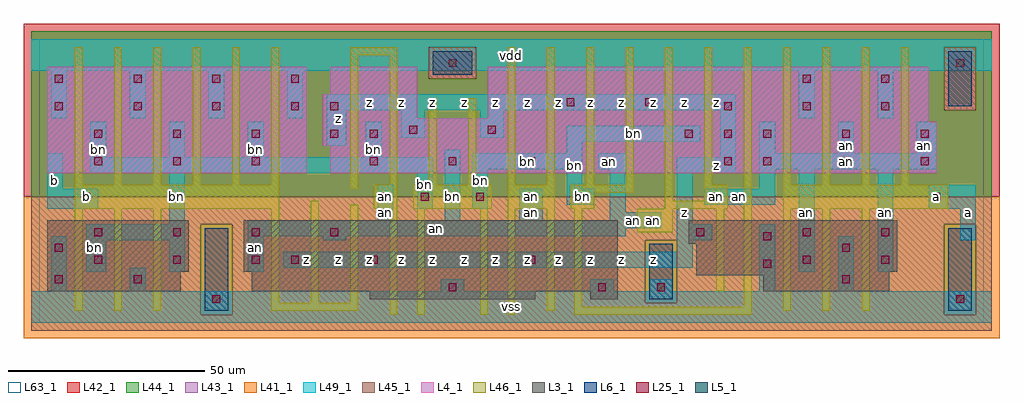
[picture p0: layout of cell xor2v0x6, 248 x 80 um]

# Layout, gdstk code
import gdstk
lib = gdstk.Library(unit=1e-6, precision=1e-09)
def R(c, l, rs):  # rectangles x0, y0, x1, y1
    for r in rs: c.add(gdstk.rectangle(r[:2], r[2:], *l))
def A(c, l, x, y, w, h, nx, ny, dx, dy):  # array of equal rectangles
    R(c, l, [(x+i*dx, y+j*dy, x+i*dx+w, y+j*dy+h) for i in range(nx) for j in range(ny)])
L3_1 = (3, 1)
L4_1 = (4, 1)
L5_1 = (5, 1)
L6_1 = (6, 1)
L25_1 = (25, 1)
L41_1 = (41, 1)
L42_1 = (42, 1)
L43_1 = (43, 1)
L44_1 = (44, 1)
L45_1 = (45, 1)
L46_1 = (46, 1)
L49_1 = (49, 1)
L63_1 = (63, 1)

xor2v0x6 = lib.new_cell('xor2v0x6')
R(xor2v0x6, L3_1, [(84,6,126,8), (140,6,147,8), (2,8,36,13), (54,8,147,13), (184,8,216,12), (167,12,216,13), (2,13,38,26), (52,13,147,26), (167,13,218,20), (165,20,218,26)])
R(xor2v0x6, L4_1, [(2,38,68,65), (74,38,228,45), (72,45,228,51), (72,51,226,52), (72,52,96,58), (114,52,226,65), (74,58,96,65)])
R(xor2v0x6, L5_1, [(231,55,237,69), (100,63,110,69)])
R(xor2v0x6, L6_1, [(42,3,48,24), (42,3,48,24), (231,3,237,24), (231,3,237,24), (155,6,161,20), (155,6,161,20)])
A(xor2v0x6, L25_1, 14, 15, 2, 2, 3, 2, 20, 25)
A(xor2v0x6, L25_1, 14, 22, 2, 2, 4, 2, 20, 25)
A(xor2v0x6, L25_1, 111, 31, 2, 2, 3, 1, 13, 0)
A(xor2v0x6, L25_1, 84, 40, 2, 2, 4, 1, 20, 0)
A(xor2v0x6, L25_1, 184, 40, 2, 2, 3, 1, 20, 0)
A(xor2v0x6, L25_1, 164, 47, 2, 2, 3, 1, 10, 0)
A(xor2v0x6, L25_1, 4, 54, 2, 2, 4, 2, 20, 7)
A(xor2v0x6, L25_1, 174, 54, 2, 2, 3, 1, 20, 0)
R(xor2v0x6, L25_1, [(44,5,46,7), (233,5,235,7), (104,8,106,10), (142,8,144,10), (157,8,159,10), (4,10,6,12), (24,10,26,12), (204,10,206,12), (184,14,186,16), (64,15,66,17), (84,15,86,17), (124,15,126,17), (194,15,196,17), (214,15,216,17), (4,18,6,20), (204,18,206,20), (184,21,186,23), (167,22,169,24), (194,22,196,24), (214,22,216,24), (154,25,156,27), (11,31,13,33), (87,31,89,33), (97,31,99,33), (171,31,173,33), (227,31,229,33), (174,40,176,42), (84,47,86,49), (204,47,206,49), (224,47,226,49), (94,48,96,50), (114,48,116,50), (74,54,76,56), (134,55,136,57), (154,55,156,57), (194,61,196,63), (214,61,216,63), (104,65,106,67), (233,65,235,67)])
R(xor2v0x6, L41_1, [(-4,-4,244,32)])
R(xor2v0x6, L42_1, [(-4,32,244,76)])
R(xor2v0x6, L43_1, [(42,3,48,24), (231,3,237,24), (84,6,126,8), (140,6,147,8), (155,6,161,20), (2,8,36,13), (54,8,147,13), (184,8,216,12), (167,12,216,13), (2,13,38,26), (52,13,147,26), (167,13,218,20), (165,20,218,26), (2,38,68,65), (74,38,228,45), (72,45,228,51), (72,51,226,52), (72,52,96,58), (114,52,226,65), (231,55,237,69), (74,58,96,65), (100,63,110,69)])
R(xor2v0x6, L44_1, [(41,2,49,25), (230,2,238,25), (154,5,162,21), (-2,32,242,54), (-2,54,230,62), (238,54,242,70), (-2,62,99,70), (111,62,230,70), (-2,70,242,74)])
R(xor2v0x6, L45_1, [(-2,-2,242,2), (-2,2,41,25), (49,2,230,5), (238,2,242,25), (49,5,154,21), (162,5,230,21), (49,21,230,25), (-2,25,242,32), (230,54,238,70), (99,62,111,70)])
A(xor2v0x6, L46_1, 9, 3, 2, 26, 3, 1, 10, 0)
A(xor2v0x6, L46_1, 189, 3, 2, 26, 3, 1, 10, 0)
A(xor2v0x6, L46_1, 9, 35, 2, 35, 6, 1, 10, 0)
A(xor2v0x6, L46_1, 119, 35, 2, 35, 4, 1, 10, 0)
A(xor2v0x6, L46_1, 189, 35, 2, 35, 4, 1, 10, 0)
R(xor2v0x6, L46_1, [(89,2,91,29), (96,2,98,29), (112,2,114,29), (119,2,121,29), (136,2,181,4), (59,3,81,5), (129,3,131,29), (136,4,138,29), (179,4,181,70), (59,5,61,29), (69,5,71,31), (79,5,81,30), (172,8,174,29), (152,23,161,29), (9,29,61,35), (85,29,91,35), (95,29,115,35), (119,29,131,35), (135,29,141,33), (159,29,175,31), (189,29,231,35), (159,31,161,70), (169,31,175,35), (135,33,151,35), (79,34,81,68), (89,35,91,68), (99,35,101,57), (109,35,111,57), (169,35,171,70), (79,68,91,70)])
A(xor2v0x6, L49_1, 13, 42, 4, 9, 3, 1, 20, 0)
A(xor2v0x6, L49_1, 3, 52, 4, 12, 4, 1, 20, 0)
R(xor2v0x6, L49_1, [(-2,0,242,8), (3,8,7,22), (23,8,27,14), (102,8,108,11), (140,8,146,11), (155,8,161,11), (183,8,187,25), (203,8,207,22), (12,13,17,21), (33,13,37,21), (53,13,57,22), (193,13,197,39), (213,13,217,39), (62,14,166,18), (162,18,166,21), (12,21,37,25), (72,21,78,22), (162,21,171,25), (234,21,238,29), (53,22,149,24), (53,24,158,26), (33,25,37,38), (162,25,166,38), (86,26,90,35), (103,26,107,44), (122,26,128,34), (145,26,158,28), (145,28,149,39), (2,29,15,34), (96,29,100,38), (110,29,114,39), (226,29,238,35), (134,30,141,34), (169,30,187,34), (2,34,6,43), (134,34,138,39), (183,34,187,39), (13,38,100,42), (162,38,177,42), (110,39,138,43), (142,39,149,43), (183,39,228,43), (83,42,87,51), (173,42,177,54), (134,43,138,46), (183,43,187,51), (203,43,207,51), (223,43,228,51), (73,45,78,54), (134,46,168,50), (92,47,98,54), (112,47,118,54), (193,52,197,64), (213,52,217,64), (73,54,177,58), (-2,64,242,72)])
R(xor2v0x6, L63_1, [(0,0,240,72)])
xor2v0x6.add(gdstk.Label('an', (88,32), layer=49, texttype=1))
xor2v0x6.add(gdstk.Label('bn', (105,32), layer=46, texttype=1))
xor2v0x6.add(gdstk.Label('an', (125,32), layer=49, texttype=1))
xor2v0x6.add(gdstk.Label('bn', (138,32), layer=49, texttype=1))
xor2v0x6.add(gdstk.Label('an', (156,26), layer=49, texttype=1))
xor2v0x6.add(gdstk.Label('an', (172,32), layer=49, texttype=1))
xor2v0x6.add(gdstk.Label('bn', (14,19), layer=49, texttype=1))
xor2v0x6.add(gdstk.Label('b', (12,32), layer=49, texttype=1))
xor2v0x6.add(gdstk.Label('b', (4,36), layer=49, texttype=1))
xor2v0x6.add(gdstk.Label('bn', (15,44), layer=49, texttype=1))
xor2v0x6.add(gdstk.Label('bn', (35,32), layer=49, texttype=1))
xor2v0x6.add(gdstk.Label('z', (92,16), layer=49, texttype=1))
xor2v0x6.add(gdstk.Label('z', (84,16), layer=49, texttype=1))
xor2v0x6.add(gdstk.Label('z', (76,16), layer=49, texttype=1))
xor2v0x6.add(gdstk.Label('z', (68,16), layer=49, texttype=1))
xor2v0x6.add(gdstk.Label('an', (55,19), layer=49, texttype=1))
xor2v0x6.add(gdstk.Label('an', (88,28), layer=49, texttype=1))
xor2v0x6.add(gdstk.Label('bn', (85,44), layer=49, texttype=1))
xor2v0x6.add(gdstk.Label('bn', (55,44), layer=49, texttype=1))
xor2v0x6.add(gdstk.Label('z', (76,52), layer=49, texttype=1))
xor2v0x6.add(gdstk.Label('z', (92,56), layer=49, texttype=1))
xor2v0x6.add(gdstk.Label('z', (84,56), layer=49, texttype=1))
xor2v0x6.add(gdstk.Label('vss', (120,4), layer=49, texttype=1))
xor2v0x6.add(gdstk.Label('z', (100,16), layer=49, texttype=1))
xor2v0x6.add(gdstk.Label('z', (108,16), layer=49, texttype=1))
xor2v0x6.add(gdstk.Label('z', (116,16), layer=49, texttype=1))
xor2v0x6.add(gdstk.Label('z', (124,16), layer=49, texttype=1))
xor2v0x6.add(gdstk.Label('z', (132,16), layer=49, texttype=1))
xor2v0x6.add(gdstk.Label('z', (140,16), layer=49, texttype=1))
xor2v0x6.add(gdstk.Label('an', (125,28), layer=49, texttype=1))
xor2v0x6.add(gdstk.Label('bn', (98,35), layer=49, texttype=1))
xor2v0x6.add(gdstk.Label('bn', (124,41), layer=49, texttype=1))
xor2v0x6.add(gdstk.Label('bn', (112,36), layer=49, texttype=1))
xor2v0x6.add(gdstk.Label('an', (105,33), layer=49, texttype=1))
xor2v0x6.add(gdstk.Label('bn', (136,40), layer=49, texttype=1))
xor2v0x6.add(gdstk.Label('z', (140,56), layer=49, texttype=1))
xor2v0x6.add(gdstk.Label('z', (132,56), layer=49, texttype=1))
xor2v0x6.add(gdstk.Label('z', (124,56), layer=49, texttype=1))
xor2v0x6.add(gdstk.Label('z', (116,56), layer=49, texttype=1))
xor2v0x6.add(gdstk.Label('z', (108,56), layer=49, texttype=1))
xor2v0x6.add(gdstk.Label('z', (100,56), layer=49, texttype=1))
xor2v0x6.add(gdstk.Label('vdd', (120,68), layer=49, texttype=1))
xor2v0x6.add(gdstk.Label('z', (156,16), layer=49, texttype=1))
xor2v0x6.add(gdstk.Label('z', (148,16), layer=49, texttype=1))
xor2v0x6.add(gdstk.Label('an', (101,24), layer=49, texttype=1))
xor2v0x6.add(gdstk.Label('z', (164,28), layer=49, texttype=1))
xor2v0x6.add(gdstk.Label('an', (178,32), layer=49, texttype=1))
xor2v0x6.add(gdstk.Label('an', (151,26), layer=49, texttype=1))
xor2v0x6.add(gdstk.Label('z', (172,40), layer=49, texttype=1))
xor2v0x6.add(gdstk.Label('an', (145,41), layer=49, texttype=1))
xor2v0x6.add(gdstk.Label('bn', (151,48), layer=49, texttype=1))
xor2v0x6.add(gdstk.Label('z', (172,56), layer=49, texttype=1))
xor2v0x6.add(gdstk.Label('z', (164,56), layer=49, texttype=1))
xor2v0x6.add(gdstk.Label('z', (156,56), layer=49, texttype=1))
xor2v0x6.add(gdstk.Label('z', (148,56), layer=49, texttype=1))
xor2v0x6.add(gdstk.Label('a', (228,32), layer=49, texttype=1))
xor2v0x6.add(gdstk.Label('a', (236,28), layer=49, texttype=1))
xor2v0x6.add(gdstk.Label('an', (205,45), layer=49, texttype=1))
xor2v0x6.add(gdstk.Label('an', (225,45), layer=49, texttype=1))
xor2v0x6.add(gdstk.Label('an', (205,41), layer=49, texttype=1))
xor2v0x6.add(gdstk.Label('an', (215,28), layer=49, texttype=1))
xor2v0x6.add(gdstk.Label('an', (195,28), layer=49, texttype=1))

lib.write_gds('xor2v0x6.gds')
